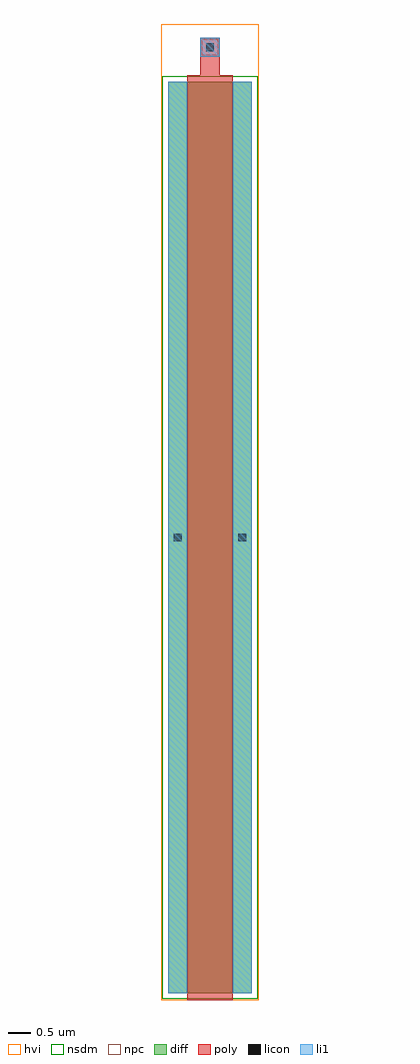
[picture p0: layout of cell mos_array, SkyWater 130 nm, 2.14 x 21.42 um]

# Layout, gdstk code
import gdstk
lib = gdstk.Library(unit=1e-6, precision=1e-09)
def R(c, l, rs):  # rectangles x0, y0, x1, y1
    for r in rs: c.add(gdstk.rectangle(r[:2], r[2:], *l))
diff = (65, 20)
poly = (66, 20)
licon = (66, 44)
li1 = (67, 20)
hvi = (75, 20)
nsdm = (93, 44)
npc = (95, 20)

mos_array = lib.new_cell('mos_array')
R(mos_array, diff, [(0,0,1.84,20)])
R(mos_array, poly, [(0.42,-0.15,1.42,20), (0.42,20,1.42,20.15), (0.42,20,1.42,20.15), (0.71,20.15,1.13,20.97)])
R(mos_array, licon, [(0.125,9.915,0.295,10.085), (1.545,9.915,1.715,10.085), (0.835,20.675,1.005,20.845)])
R(mos_array, li1, [(0,0,0.42,20), (1.42,0,1.84,20), (0.71,20.55,1.13,20.97)])
R(mos_array, hvi, [(-0.15,-0.15,1.99,21.27)])
R(mos_array, nsdm, [(-0.125,-0.125,1.965,20.125)])
R(mos_array, npc, [(0.74,20.58,1.1,20.94)])

lib.write_gds('mos_array.gds')
